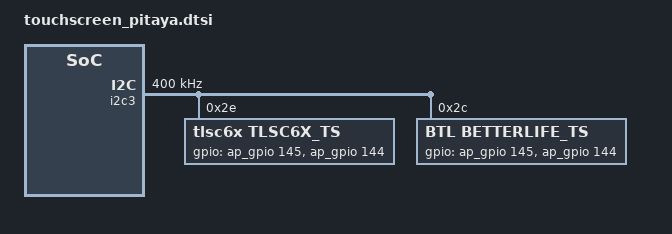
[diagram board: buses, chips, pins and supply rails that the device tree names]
&i2c3 {
	clock-frequency = <400000>;
	status = "okay";
	/delete-node/ touchscreen@38;
	tlsc6x_ts@2e {
		compatible = "tlsc6x,tlsc6x_ts";
		reg = <0x2e>;
		gpios = <&ap_gpio 145 0
			&ap_gpio 144 0>;
		vdd_name = "vdd28";
		TP_MAX_X = <480>;
		TP_MAX_Y = <1014>;
	};
	betterlife_ts@2c{
		compatible = "BTL,betterlife_ts";
		reg = <0x2c>;
		gpios = <&ap_gpio 145 0
                 &ap_gpio 144 0>;
		vcc_name = "vdd28";
		TP_MAX_X = <480>;
		TP_MAX_Y = <1014>;
	};
};
